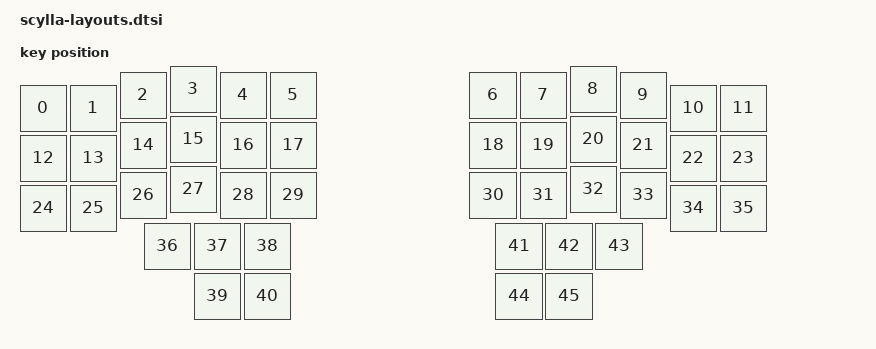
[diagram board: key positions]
#include <physical_layouts.dtsi>

/ {
    scylla_physical_layout: scylla_physical_layout {
        compatible = "zmk,physical-layout";
        display-name = "Scylla MK2";
        status = "okay";
        kscan = <&kscan0>;
        transform = <&default_transform>;

        keys
            // Left Half - Main Keys
            //                       w   h    x    y     rot    rx    ry
            = <&key_physical_attrs 100 100    0   38       0     0     0>
            , <&key_physical_attrs 100 100  100   38       0     0     0>
            , <&key_physical_attrs 100 100  200   12       0     0     0>
            , <&key_physical_attrs 100 100  300    0       0     0     0>
            , <&key_physical_attrs 100 100  400   12       0     0     0>
            , <&key_physical_attrs 100 100  500   12       0     0     0>
            , <&key_physical_attrs 100 100  900   12       0     0     0>
            , <&key_physical_attrs 100 100 1000   12       0     0     0>
            , <&key_physical_attrs 100 100 1100    0       0     0     0>
            , <&key_physical_attrs 100 100 1200   12       0     0     0>
            , <&key_physical_attrs 100 100 1300   38       0     0     0>
            , <&key_physical_attrs 100 100 1400   38       0     0     0>
            , <&key_physical_attrs 100 100    0  138       0     0     0>
            , <&key_physical_attrs 100 100  100  138       0     0     0>
            , <&key_physical_attrs 100 100  200  112       0     0     0>
            , <&key_physical_attrs 100 100  300  100       0     0     0>
            , <&key_physical_attrs 100 100  400  112       0     0     0>
            , <&key_physical_attrs 100 100  500  112       0     0     0>

            // Right Half - Main Keys
            //                       w   h    x    y     rot    rx    ry
            , <&key_physical_attrs 100 100  900  112       0     0     0>
            , <&key_physical_attrs 100 100 1000  112       0     0     0>
            , <&key_physical_attrs 100 100 1100  100       0     0     0>
            , <&key_physical_attrs 100 100 1200  112       0     0     0>
            , <&key_physical_attrs 100 100 1300  138       0     0     0>
            , <&key_physical_attrs 100 100 1400  138       0     0     0>
            , <&key_physical_attrs 100 100    0  238       0     0     0>
            , <&key_physical_attrs 100 100  100  238       0     0     0>
            , <&key_physical_attrs 100 100  200  212       0     0     0>
            , <&key_physical_attrs 100 100  300  200       0     0     0>
            , <&key_physical_attrs 100 100  400  212       0     0     0>
            , <&key_physical_attrs 100 100  500  212       0     0     0>
            , <&key_physical_attrs 100 100  900  212       0     0     0>
            , <&key_physical_attrs 100 100 1000  212       0     0     0>
            , <&key_physical_attrs 100 100 1100  200       0     0     0>
            , <&key_physical_attrs 100 100 1200  212       0     0     0>
            , <&key_physical_attrs 100 100 1300  238       0     0     0>
            , <&key_physical_attrs 100 100 1400  238       0     0     0>

            // Thumb Clusters - Left (5 keys: 3 top + 2 bottom)
            //                       w   h    x    y     rot    rx    ry
            , <&key_physical_attrs 100 100  248  314       0     0     0>
            , <&key_physical_attrs 100 100  348  314       0     0     0>
            , <&key_physical_attrs 100 100  448  314       0     0     0>
            , <&key_physical_attrs 100 100  348  414       0     0     0>
            , <&key_physical_attrs 100 100  448  414       0     0     0>
            
            // Thumb Clusters - Right (5 keys: 3 top + 2 bottom)
            //                       w   h    x    y     rot    rx    ry
            , <&key_physical_attrs 100 100  952  314       0     0     0>
            , <&key_physical_attrs 100 100 1052  314       0     0     0>
            , <&key_physical_attrs 100 100 1152  314       0     0     0>
            , <&key_physical_attrs 100 100  952  414       0     0     0>
            , <&key_physical_attrs 100 100 1052  414       0     0     0>
            ;
    };
};
